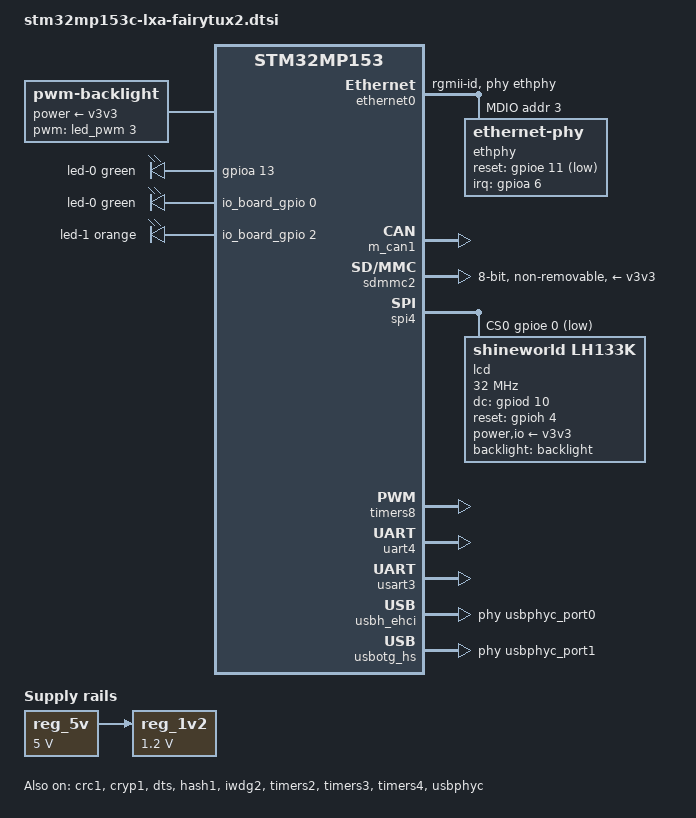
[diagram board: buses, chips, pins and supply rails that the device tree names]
// SPDX-License-Identifier: (GPL-2.0-or-later OR BSD-3-Clause)
/*
 * Copyright (C) 2020 STMicroelectronics - All Rights Reserved
 * Copyright (C) 2021 Rouven Czerwinski, Pengutronix
 * Copyright (C) 2023, 2024 Leonard Göhrs, Pengutronix
 */

#include "stm32mp153.dtsi"
#include "stm32mp15xc.dtsi"
#include "stm32mp15xx-osd32.dtsi"
#include "stm32mp15xxac-pinctrl.dtsi"

#include <dt-bindings/gpio/gpio.h>
#include <dt-bindings/input/input.h>
#include <dt-bindings/leds/common.h>
#include <dt-bindings/pwm/pwm.h>

/ {
	aliases {
		can0 = &m_can1;
		ethernet0 = &ethernet0;
		i2c0 = &i2c1;
		i2c1 = &i2c4;
		mmc1 = &sdmmc2;
		serial0 = &uart4;
		serial1 = &usart3;
		spi0 = &spi4;
	};

	chosen {
		stdout-path = &uart4;
	};

	backlight: backlight {
		compatible = "pwm-backlight";
		power-supply = <&v3v3>;

		brightness-levels = <0 31 63 95 127 159 191 223 255>;
		default-brightness-level = <7>;
		pwms = <&led_pwm 3 1000000 0>;
	};

	led-controller-cpu {
		compatible = "gpio-leds";

		led-0 {
			color = <LED_COLOR_ID_GREEN>;
			function = LED_FUNCTION_HEARTBEAT;
			gpios = <&gpioa 13 GPIO_ACTIVE_HIGH>;
			linux,default-trigger = "heartbeat";
		};
	};

	led_controller_io: led-controller-io {
		compatible = "gpio-leds";

		/*
		 * led-0 and led-1 are internally connected antiparallel to one
		 * another inside the ethernet jack like this:
		 * GPIO0 ---+---|led-0|>--+--- GPIO2
		 *          +--<|led-1|---+
		 * E.g. only one of the LEDs can be illuminated at a time while
		 * the other output must be driven low.
		 * This should likely be implemented using a multi color LED
		 * driver for antiparallel LEDs.
		 */
		led-0 {
			color = <LED_COLOR_ID_GREEN>;
			function = LED_FUNCTION_LAN;
			gpios = <&io_board_gpio 0 GPIO_ACTIVE_HIGH>;
		};

		led-1 {
			color = <LED_COLOR_ID_ORANGE>;
			function = LED_FUNCTION_LAN;
			gpios = <&io_board_gpio 2 GPIO_ACTIVE_HIGH>;
		};
	};

	reg_5v: regulator-5v {
		compatible = "regulator-fixed";
		regulator-name = "5V";
		regulator-min-microvolt = <5000000>;
		regulator-max-microvolt = <5000000>;
		regulator-always-on;
	};

	reg_1v2: regulator-1v2 {
		compatible = "regulator-fixed";
		regulator-name = "1V2";
		regulator-min-microvolt = <1200000>;
		regulator-max-microvolt = <1200000>;
		regulator-always-on;
		vin-supply = <&reg_5v>;
	};
};

baseboard_eeprom: &sip_eeprom {
};

&crc1 {
	status = "okay";
};

&cryp1 {
	status = "okay";
};

&dts {
	status = "okay";
};

&ethernet0 {
	assigned-clocks = <&rcc ETHCK_K>, <&rcc PLL4_P>;
	assigned-clock-parents = <&rcc PLL4_P>;
	assigned-clock-rates = <125000000>; /* Clock PLL4 to 750Mhz in ATF */

	pinctrl-names = "default", "sleep";
	pinctrl-0 = <&ethernet0_rgmii_pins_b>;
	pinctrl-1 = <&ethernet0_rgmii_sleep_pins_b>;

	st,eth-clk-sel;
	phy-mode = "rgmii-id";
	phy-handle = <&ethphy>;
	status = "okay";

	mdio {
		compatible = "snps,dwmac-mdio";
		#address-cells = <1>;
		#size-cells = <0>;

		ethphy: ethernet-phy@3 { /* KSZ9031RN */
			reg = <3>;
			reset-gpios = <&gpioe 11 GPIO_ACTIVE_LOW>; /* ETH_RST# */
			interrupt-parent = <&gpioa>;
			interrupts = <6 IRQ_TYPE_EDGE_FALLING>; /* ETH_MDINT# */
			reset-assert-us = <10000>;
			reset-deassert-us = <300>;
			micrel,force-master;
		};
	};
};

&gpioa {
	gpio-line-names = "", "", "", "", "",				/*  0 */
			  "", "ETH_INT", "", "", "",			/*  5 */
			  "", "", "", "BOOTROM_LED", "",		/* 10 */
			  "";						/* 15 */
};

&gpiob {
	gpio-line-names = "", "", "", "", "",				/*  0 */
			  "", "", "", "", "",				/*  5 */
			  "", "", "", "", "",				/* 10 */
			  "";						/* 15 */
};

&gpioc {
	gpio-line-names = "", "", "", "", "",				/*  0 */
			  "", "", "", "", "",				/*  5 */
			  "", "";					/* 10 */
};

&gpiod {
	gpio-line-names = "", "", "", "", "",				/*  0 */
			  "", "", "LCD_TE", "", "",			/*  5 */
			  "LCD_DC", "", "", "", "",			/* 10 */
			  "";						/* 15 */
};

&gpioe {
	gpio-line-names = "LCD_CS", "", "", "", "",			/*  0 */
			  "", "", "", "", "",				/*  5 */
			  "", "", "", "", "",				/* 10 */
			  "";						/* 15 */
};

&gpiof {
	gpio-line-names = "GPIO1", "GPIO2", "", "", "",			/*  0 */
			  "", "", "", "", "",				/*  5 */
			  "", "", "", "", "",				/* 10 */
			  "";						/* 15 */
};

&gpiog {
	gpio-line-names = "", "", "", "", "",				/*  0 */
			  "", "", "", "", "",				/*  5 */
			  "", "", "", "", "",				/* 10 */
			  "";						/* 15 */
};

&gpioz {
	gpio-line-names = "HWID0", "HWID1", "HWID2", "HWID3", "",	/*  0 */
			  "", "HWID4", "HWID5";				/*  5 */
};

&hash1 {
	status = "okay";
};

&iwdg2 {
	timeout-sec = <8>;
	status = "okay";
};

&m_can1 {
	pinctrl-names = "default", "sleep";
	pinctrl-0 = <&m_can1_pins_b>;
	pinctrl-1 = <&m_can1_sleep_pins_b>;
	status = "okay";
	termination-gpios = <&io_board_gpio 7 GPIO_ACTIVE_HIGH>;
	termination-ohms = <120>;
};

&pmic {
	regulators {
		buck1-supply = <&reg_5v>;	/* VIN */
		buck2-supply = <&reg_5v>;	/* VIN */
		buck3-supply = <&reg_5v>;	/* VIN */
		buck4-supply = <&reg_5v>;	/* VIN */
		ldo2-supply = <&reg_5v>;	/* PMIC_LDO25IN */
		ldo4-supply = <&reg_5v>;	/* VIN */
		ldo5-supply = <&reg_5v>;	/* PMIC_LDO25IN */
		vref_ddr-supply = <&reg_5v>;	/* VIN */
		boost-supply = <&reg_5v>;	/* PMIC_BSTIN */
		pwr_sw2-supply = <&bst_out>;	/* PMIC_SWIN */
	};
};

&pwr_regulators {
	vdd-supply = <&vdd>;
	vdd_3v3_usbfs-supply = <&vdd_usb>;
};

&sdmmc2 {
	pinctrl-names = "default", "opendrain", "sleep";
	pinctrl-0 = <&sdmmc2_b4_pins_a &sdmmc2_d47_pins_b>;
	pinctrl-1 = <&sdmmc2_b4_od_pins_a &sdmmc2_d47_pins_b>;
	pinctrl-2 = <&sdmmc2_b4_sleep_pins_a &sdmmc2_d47_sleep_pins_b>;
	vmmc-supply = <&v3v3>;

	bus-width = <8>;
	mmc-ddr-3_3v;
	no-1-8-v;
	non-removable;
	no-sd;
	no-sdio;
	st,neg-edge;

	status = "okay";
};

&spi4 {
	pinctrl-names = "default";
	pinctrl-0 = <&spi4_pins_a>;
	cs-gpios = <&gpioe 0 GPIO_ACTIVE_LOW>;
	status = "okay";

	lcd: display@0 {
		compatible = "shineworld,lh133k", "panel-mipi-dbi-spi";
		reg = <0>;
		power-supply = <&v3v3>;
		io-supply = <&v3v3>;
		backlight = <&backlight>;
		dc-gpios = <&gpiod 10 GPIO_ACTIVE_HIGH>;
		reset-gpios = <&gpioh 4 GPIO_ACTIVE_HIGH>;
		spi-3wire;
		spi-max-frequency = <32000000>;

		width-mm = <23>;
		height-mm = <23>;
		rotation = <180>;

		panel-timing {
			hactive = <240>;
			vactive = <240>;
			hback-porch = <0>;
			vback-porch = <0>;

			clock-frequency = <0>;
			hfront-porch = <0>;
			hsync-len = <0>;
			vfront-porch = <0>;
			vsync-len = <0>;
		};
	};
};

&timers2 {
	/* spare dmas for other usage */
	/delete-property/dmas;
	/delete-property/dma-names;

	status = "okay";

	timer@1 {
		status = "okay";
	};
};

&timers3 {
	/* spare dmas for other usage */
	/delete-property/dmas;
	/delete-property/dma-names;

	status = "okay";

	timer@2 {
		status = "okay";
	};
};

&timers4 {
	/* spare dmas for other usage */
	/delete-property/dmas;
	/delete-property/dma-names;

	status = "okay";

	timer@3 {
		status = "okay";
	};
};

&timers8 {
	/* spare dmas for other usage */
	/delete-property/dmas;
	/delete-property/dma-names;

	status = "okay";

	led_pwm: pwm {
		pinctrl-names = "default", "sleep";
		pinctrl-0 = <&pwm8_pins_b>;
		pinctrl-1 = <&pwm8_sleep_pins_b>;
		status = "okay";
	};
};

&uart4 {
	label = "debug";

	pinctrl-names = "default";
	pinctrl-0 = <&uart4_pins_a>;

	/* spare dmas for other usage */
	/delete-property/dmas;
	/delete-property/dma-names;

	status = "okay";
};

&usart3 {
	label = "external";

	pinctrl-names = "default";
	pinctrl-0 = <&usart3_pins_a>;

	/* spare dmas for other usage */
	/delete-property/dmas;
	/delete-property/dma-names;

	status = "okay";
};

&usbh_ehci {
	phys = <&usbphyc_port0>;
	phy-names = "usb";

	status = "okay";
};

&usbotg_hs {
	phys = <&usbphyc_port1 0>;
	phy-names = "usb2-phy";

	vusb_d-supply = <&vdd_usb>;
	vusb_a-supply = <&reg18>;

	status = "okay";
};

&usbphyc {
	status = "okay";
};

&usbphyc_port0 {
	phy-supply = <&vdd_usb>;
};

&usbphyc_port1 {
	phy-supply = <&vdd_usb>;
};

&v3v3_hdmi {
	regulator-enable-ramp-delay = <1000>;
};
